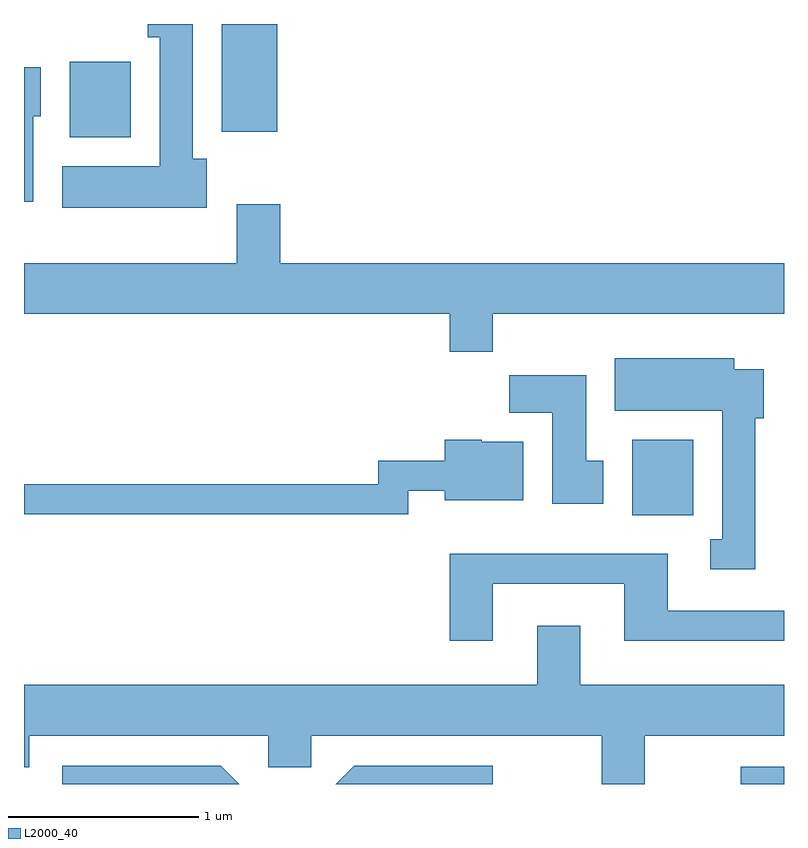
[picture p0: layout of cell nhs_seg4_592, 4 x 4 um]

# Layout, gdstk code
import gdstk
lib = gdstk.Library(unit=1e-6, precision=1e-09)
def R(c, l, rs):  # rectangles x0, y0, x1, y1
    for r in rs: c.add(gdstk.rectangle(r[:2], r[2:], *l))
def P(c, l, *ps):  # polygons
    for p in ps: c.add(gdstk.Polygon(p, *l))
L2000_40 = (2000, 40)

nhs_seg4_592 = lib.new_cell('nhs_seg4_592')
R(nhs_seg4_592, L2000_40, [(205.383,1349.982,205.611,1350.074), (204.811,1351.396,205.134,1351.794), (201.851,1353.386,202.174,1353.784), (202.651,1353.416,202.944,1353.982)])
P(nhs_seg4_592, L2000_40, [(202.574,1353.274),(202.499,1353.274),(202.499,1353.982),(202.263,1353.982),(202.263,1353.911),(202.326,1353.911),(202.326,1353.234),(201.811,1353.234),(201.811,1353.016),(202.574,1353.016)],
  [(201.659,1353.496),(201.699,1353.496),(201.699,1353.754),(201.611,1353.754),(201.611,1353.046),(201.659,1353.046)],
  [(204.079,1352.456),(205.611,1352.456),(205.611,1352.724),(202.959,1352.724),(202.959,1353.034),(202.731,1353.034),(202.731,1352.724),(201.611,1352.724),(201.611,1352.456),(203.851,1352.456),(203.851,1352.256),(204.079,1352.256)],
  [(205.459,1351.906),(205.504,1351.906),(205.504,1352.164),(205.349,1352.164),(205.349,1352.224),(204.721,1352.224),(204.721,1351.946),(205.286,1351.946),(205.286,1351.269),(205.223,1351.269),(205.223,1351.111),(205.459,1351.111)],
  [(204.659,1351.684),(204.569,1351.684),(204.569,1352.134),(204.166,1352.134),(204.166,1351.936),(204.391,1351.936),(204.391,1351.456),(204.659,1351.456)],
  [(203.634,1351.526),(203.826,1351.526),(203.826,1351.476),(204.239,1351.476),(204.239,1351.784),(204.02,1351.784),(204.02,1351.794),(203.826,1351.794),(203.826,1351.684),(203.476,1351.684),(203.476,1351.559),(201.611,1351.559),(201.611,1351.401),(203.634,1351.401)],
  [(204.079,1351.036),(204.771,1351.036),(204.771,1350.736),(205.611,1350.736),(205.611,1350.894),(204.999,1350.894),(204.999,1351.194),(203.851,1351.194),(203.851,1350.736),(204.079,1350.736)],
  [(204.879,1350.236),(205.611,1350.236),(205.611,1350.504),(204.539,1350.504),(204.539,1350.814),(204.311,1350.814),(204.311,1350.504),(201.611,1350.504),(201.611,1350.071),(201.639,1350.071),(201.639,1350.236),(202.896,1350.236),(202.896,1350.071),(203.124,1350.071),(203.124,1350.236),(204.651,1350.236),(204.651,1349.982),(204.879,1349.982)],
  [(202.647,1350.079),(201.811,1350.079),(201.811,1349.982),(202.744,1349.982)],
  [(204.079,1350.079),(203.349,1350.079),(203.252,1349.982),(204.079,1349.982)])

lib.write_gds('nhs_seg4_592.gds')
